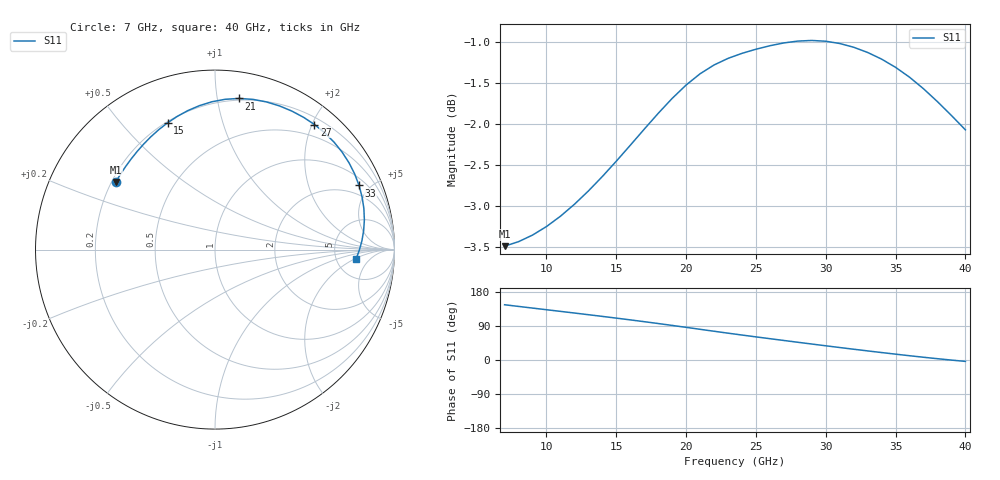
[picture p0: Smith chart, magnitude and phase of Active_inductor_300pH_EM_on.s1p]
! Created Fri Apr 17 23:42:13 2026
# hz S ma R 50
! Port[1] TermG1
! 1 Port Network Data from SP1.SP block
! freq  magS11  angS11
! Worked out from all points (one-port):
!   34 points, 7 GHz to 40 GHz, reference 50 ohm
!   lowest |S11| = -3.5 dB at 7 GHz (marker M1), VSWR 5.05, Z = 10.8 + j14.7 ohm
!   |S11| at or under -10 dB: nowhere
!   S11 on the Smith chart (normalised r, x): 7 GHz: 0.22, +0.29; 15 GHz: 0.21, +0.67; 21 GHz: 0.19, +1.15; 27 GHz: 0.30, +2.04; 33 GHz: 1.37, +4.29; 40 GHz: 7.86, -2.12
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7e9  0.6694 145.8
1e10  0.6881 132.7
1.2e10  0.7099 124.0
1.4e10  0.7381 115.1
1.5e10  0.7542 110.5
1.6e10  0.7712 105.9
1.8e10  0.8066 96.2
1.9e10  0.8237 91.2
2e10  0.8393 86.2
2.1e10  0.8527 81.0
2.2e10  0.8632 75.9
2.3e10  0.8713 70.8
2.4e10  0.8774 65.9
2.5e10  0.8825 61.0
2.6e10  0.8869 56.2
2.7e10  0.8904 51.5
2.8e10  0.8927 46.8
2.9e10  0.8935 42.1
3e10  0.8925 37.5
3.1e10  0.8897 32.9
3.2e10  0.885 28.4
3.3e10  0.8785 24.0
3.4e10  0.8704 19.7
3.5e10  0.8604 15.4
3.6e10  0.8485 11.3
3.7e10  0.8349 7.3
3.8e10  0.8199 3.4
4e10  0.7881 -3.7
